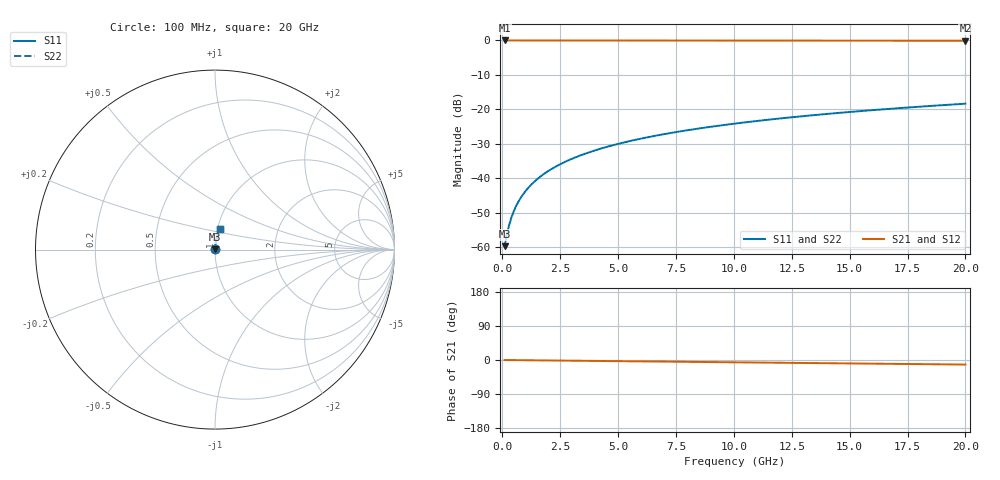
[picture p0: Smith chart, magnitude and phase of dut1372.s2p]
! Touchstone file exported from HFSS 2026.1.0
!  File:  C:/ffzhzh/LocalFiles/Ansys_Project_Files/temp_train_TSV_1372_1783196276_22436.aedt
!  Generated:  04:20:01 AM Jul  5, 2026
!  Design:  TSV
!  Project:  temp_train_TSV_1372_1783196276_22436
! Variables:
!  h_bsmrdl = 2um
!  h_ox = 20um
!  h_rdl = 5um
!  h_sub = 98.23um
!  h_tmrdl = 5um
!  h_tsv = 98.23um
!  h_via = 3um
!  l_bsmrdl = 300um
!  l_sub = 407.64um
!  l_tmrdl = 200um
!  m_sub = 200um
!  pitch = 46.06um
!  r_tsv = 3.82um
!  s_tmrdl = 10um
!  w_bsmrdl = 18um
!  w_sub = 500um
!  w_tmrdl = 12um
!  x_tsv_center1 = 206um
!  x_tsv_center2 = 524um
!  x_tsv_center3 = 736um
!  x_tsv_center4 = 1054um
!  x_tsv_center5 = 1266um
!  x_tsv_center6 = 1584um
# GHz S MA R 50.000000
! Terminal data exported
! Port[1] = TSV1_1_T1
! Port[2] = TSV1_1_T2
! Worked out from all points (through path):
!   200 points, 100 MHz to 20 GHz, reference 50 ohm
!   highest |S21| = -0.01 dB at 100 MHz (marker M1); lowest = -0.1 dB at 20 GHz (marker M2)
!   group delay of S21, straight-line fit = 1.67 ps
!   lowest |S11| = -59.8 dB at 100 MHz (marker M3), VSWR 1.00, Z = 50.1 + j0.0652 ohm
!   |S11| at or under -10 dB: start of sweep to end of sweep
!   |S22| runs from -59.8 to -18.4 dB; largest |S21 - S12| = 5.1e-15
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0.1  0.001026 39.4  0.9992 -0.1  0.9992 -0.1  0.001026 39.4
! Gamma 0 0 0 0
! Port Impedance 50 0 50 0
0.2  0.001528 58.2  0.9992 -0.1  0.9992 -0.1  0.001528 58.2
0.3  0.002107 67.1  0.9992 -0.2  0.9992 -0.2  0.002107 67.1
0.4  0.002712 72.0  0.9992 -0.3  0.9992 -0.3  0.002712 72.0
0.5  0.003327 75.1  0.9992 -0.3  0.9992 -0.3  0.003327 75.1
0.6  0.003948 77.3  0.9991 -0.4  0.9991 -0.4  0.003948 77.3
0.8  0.005199 79.9  0.9991 -0.5  0.9991 -0.5  0.005199 79.9
1.1  0.007087 82.1  0.9991 -0.7  0.9991 -0.7  0.007087 82.1
1.5  0.00961 83.5  0.999 -0.9  0.999 -0.9  0.00961 83.5
1.8  0.0115 84.0  0.9989 -1.1  0.9989 -1.1  0.0115 84.0
2.1  0.01339 84.3  0.9989 -1.3  0.9989 -1.3  0.01339 84.3
2.7  0.01716 84.6  0.9987 -1.7  0.9987 -1.7  0.01716 84.6
3.5  0.02215 84.6  0.9985 -2.2  0.9985 -2.2  0.02215 84.6
4.2  0.02649 84.4  0.9983 -2.6  0.9983 -2.6  0.02649 84.4
5  0.03142 84.1  0.998 -3.1  0.998 -3.1  0.03142 84.1
5.9  0.03692 83.7  0.9976 -3.6  0.9976 -3.6  0.03692 83.7
6.8  0.04239 83.3  0.9972 -4.2  0.9972 -4.2  0.04239 83.3
8.3  0.05145 82.6  0.9966 -5.1  0.9966 -5.1  0.05145 82.6
10.1  0.06225 81.7  0.9957 -6.1  0.9957 -6.1  0.06225 81.7
13.4  0.08189 80.0  0.994 -8.1  0.994 -8.1  0.08189 80.0
16.7  0.1013 78.2  0.9919 -10.1  0.9919 -10.1  0.1013 78.2
20  0.1205 76.4  0.9895 -12.0  0.9895 -12.0  0.1205 76.4
